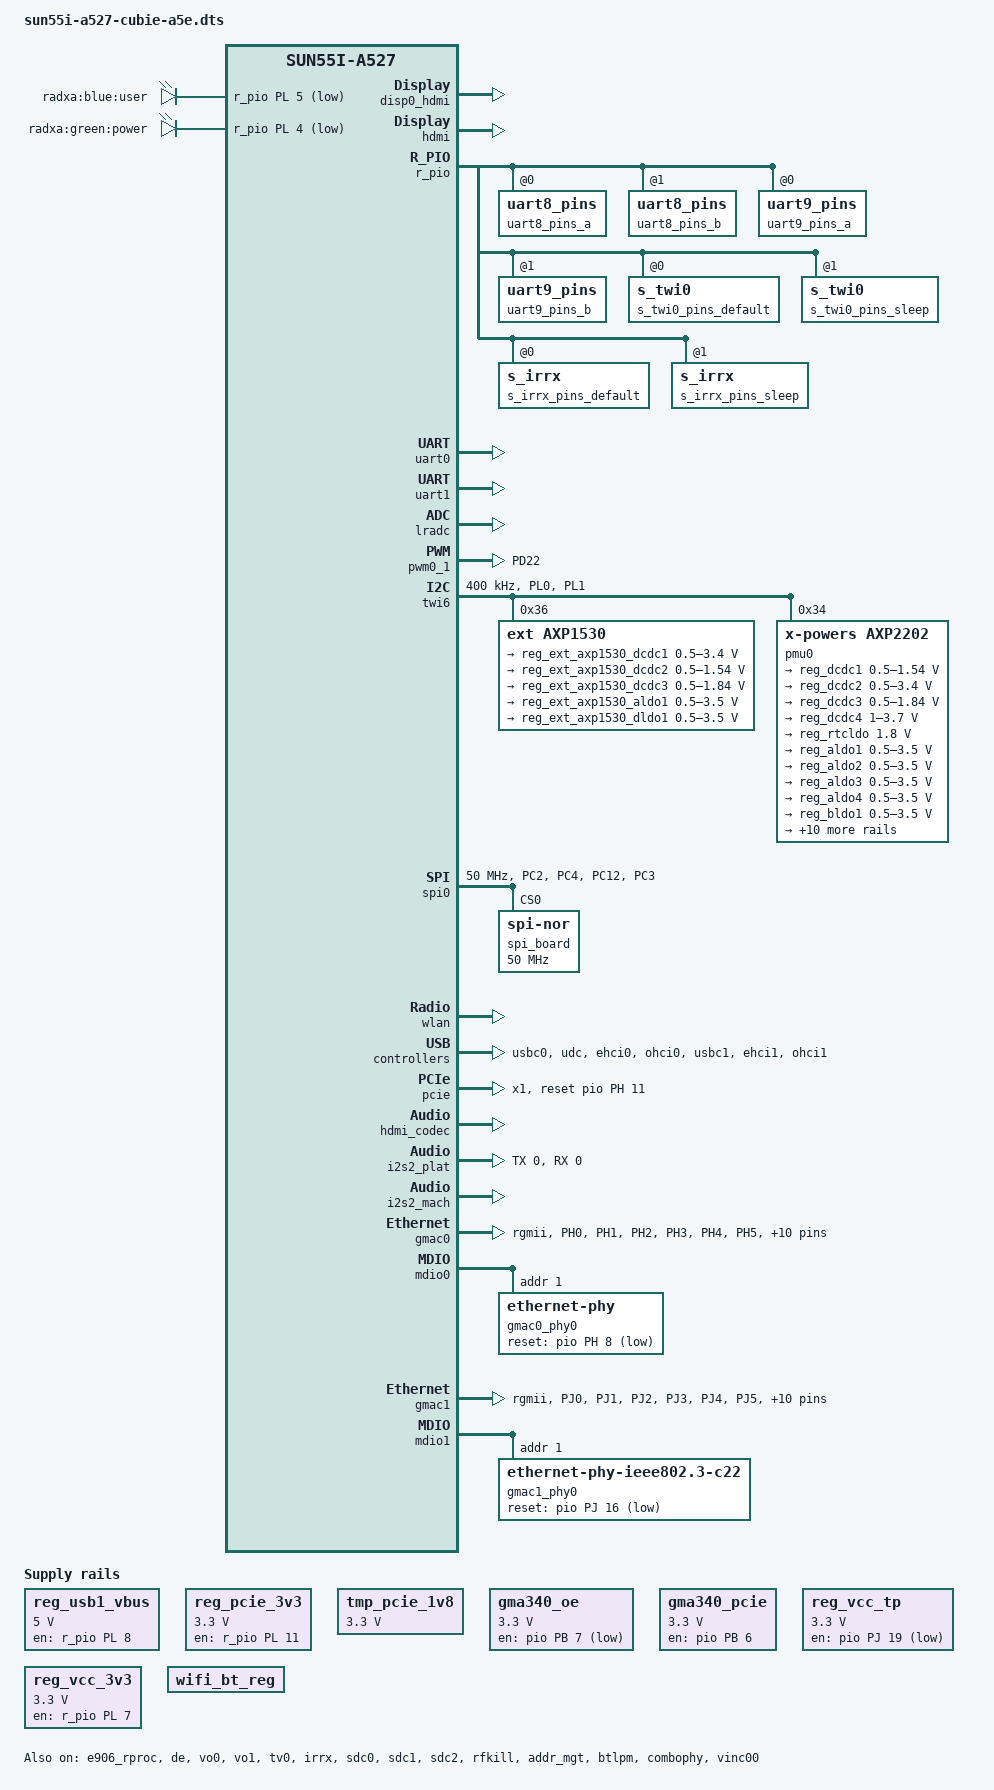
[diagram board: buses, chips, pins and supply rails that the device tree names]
/*
 * Allwinner Technology CO., Ltd.
 */

/dts-v1/;

#include "sun55iw3p1.dtsi"
#define USE_PCIE 1

/{
	board = "A527", "A527-CUBIE-A5-AXP717C";
	compatible = "radxa,cubie-a5e", "arm,sun55iw3p1", "allwinner,sun55i-a527";
	aliases {
		pmu0 = &pmu0;
		axp1530 = &axp1530;
		serial0 = &uart0;
		lcd0 = &lcd0;
		hdmi = &hdmi;
		// reg-tcs0 = &reg_tcs0;
		// reg-sy0 = &reg_sy0;
		reg-axp1530 = &reg_ext_axp1530_dcdc1;
		// tcs0 = &tcs0;
		// sy0 = &sy0;
		cpu-ext = &cpu4;
		standby-param = &standby_param;
		arisc-config = &arisc_config;
	};

	reg_usb1_vbus: usb1-vbus {
		compatible = "regulator-fixed";
		regulator-name = "usb1-vbus";
		regulator-min-microvolt = <5000000>;
		regulator-max-microvolt = <5000000>;
		regulator-enable-ramp-delay = <1000>;
		gpio = <&r_pio PL 8 GPIO_ACTIVE_HIGH>;
		enable-active-high;
	};

	reg_pcie_3v3: pcie-3v3 {
		compatible = "regulator-fixed";
		regulator-name = "pcie-3v3";
		regulator-min-microvolt = <3300000>;
		regulator-max-microvolt = <3300000>;
		regulator-enable-ramp-delay = <1000>;
		regulator-always-on;
		regulator-boot-on;
		gpio = <&r_pio PL 11 GPIO_ACTIVE_HIGH>;
		enable-active-high;
	};

	tmp_pcie_1v8: pcie-1v8 {
		compatible = "regulator-fixed";
		regulator-name = "pcie-1v8";
		regulator-min-microvolt = <3300000>;
		regulator-max-microvolt = <3300000>;
		regulator-enable-ramp-delay = <1000>;
		regulator-always-on;
		regulator-boot-on;
	};

	gma340_oe: gma340-oe {
		compatible = "regulator-fixed";
		regulator-name = "gma340-oe";
		regulator-min-microvolt = <3300000>;
		regulator-max-microvolt = <3300000>;
		//regulator-enable-ramp-delay = <1000>;
		regulator-always-on;
		regulator-boot-on;
		gpio = <&pio PB 7 GPIO_ACTIVE_LOW>;
	};

#ifdef USE_PCIE
	gma340_pcie: gma340-pcie {
		compatible = "regulator-fixed";
		regulator-name = "gma340-pcie";
		regulator-min-microvolt = <3300000>;
		regulator-max-microvolt = <3300000>;
		//regulator-enable-ramp-delay = <1000>;
		regulator-always-on;
		regulator-boot-on;
		gpio = <&pio PB 6 GPIO_ACTIVE_HIGH>;
		enable-active-high;
	};
#else
	gma340_usb3: gma340-usb3 {
		compatible = "regulator-fixed";
		regulator-name = "gma340-usb3";
		regulator-min-microvolt = <3300000>;
		regulator-max-microvolt = <3300000>;
		//regulator-enable-ramp-delay = <1000>;
		regulator-always-on;
		regulator-boot-on;
		gpio = <&pio PB 6 GPIO_ACTIVE_LOW>;
	};
#endif
	reg_vcc_tp: reg-vcc-tp {
		compatible = "regulator-fixed";
		regulator-name = "reg-vcc-tp";
		regulator-min-microvolt = <3300000>;
		regulator-max-microvolt = <3300000>;
		regulator-always-on;
		regulator-boot-on;
		gpio = <&pio PJ 19 GPIO_ACTIVE_LOW>;
	};

	reg_vcc_3v3: vcc-3v3 {
		compatible = "regulator-fixed";
		regulator-name = "vcc-3v3";
		regulator-min-microvolt = <3300000>;
		regulator-max-microvolt = <3300000>;
		// regulator-enable-ramp-delay = <1000>;
		gpio = <&r_pio PL 7 GPIO_ACTIVE_HIGH>;
		regulator-always-on;
		regulator-boot-on;
		enable-active-high;
	};

	standby_param: standby_param {
		vdd-cpu = <0x00000001>;
		vdd-cpub = <0x00000001>;
		vdd-ndr = <0x00000004>;
		vdd-sys = <0x00000002>;
		vcc-pll = <0x00000080>;
		vcc-io  = <0x00004000>;

		osc24m-on = <0x0>;
	};

	arisc_config: arisc_config {
		s_uart_config{
			pins = "PL2", "PL3";
			function = <2>, <2>;
			status = "disabled";
		};
	};

	leds {
		compatible = "gpio-leds";

		led-0 {
			label = "radxa:blue:user";
			gpios = <&r_pio PL 5 GPIO_ACTIVE_LOW>;
			linux,default-trigger = "heartbeat";
		};

		led-1 {
			label = "radxa:green:power";
			gpios = <&r_pio PL 4 GPIO_ACTIVE_LOW>;
			linux,default-trigger = "default-on";
		};

	};

	wifi_bt_reg: wifi-bt-reg {
		compatible = "regulator-gpio";
		gpios = <&r_pio PM 1 GPIO_ACTIVE_HIGH>; /* wl_reg_on */
		states = <0x07 3300000>;
		regulator-name = "wifi_bt_reg";
		regulator-always-on;
		startup-delay-us = <100>;
		enable-high;
	};

};

&e906_rproc {
	mboxes = <&msgbox 8>;
	mbox-names = "arm-kick";
	memory-region = <&riscvsram0_reserved>, <&riscvsram1_reserved>, <&rv_vdev0buffer>, <&rv_vdev0vring0>, <&rv_vdev0vring1>, <&e906_dram_reserved>;
	auto-boot;
	fw-region = <&e906_mem_fw>;
	memory-mappings =
		/* < DA		len		PA >	*/
		/* DSP RAM */
		< 0x20000	0x20000		0x20000 >,
		/* SRAM A2 */
		< 0x40000	0x24000		0x40000 >,
		/* DDR */
		< 0x8000000	0x37f00000	0x8000000 >,
		/* SRAM SPACE 0 */
		< 0x3ffc0000	0x40000		0x07280000 >,
		/* SRAM SPACE 1 */
		< 0x40000000	0x40000		0x072c0000 >,
		/* DRAM SPACE */
		< 0x40040000	0x3ffc0000	0x40040000>;
	status = "okay";
};

&de {
	chn_cfg_mode = <3>;
	status = "okay";
};

&vo0 {
	status = "okay";
};

&vo1 {
	status = "okay";
};

&tv0 {
	status = "okay";
};

&sunxi_drm {
	route {
		disp0_dsi1:disp0_dsi1 {
			status = "disabled";
		};

		disp0_hdmi:disp0_hdmi {
			status = "okay";
		};
	};
};

&dsi1 {
	status = "disabled";
	ports {
		dsi1_out: port@1{
			dsi1_out_panel: endpoint {
				remote-endpoint = <&panel_input>;
			};
		};
	};

	panel: panel@0 {
		compatible = "allwinner,virtual-panel";
		status = "okay";
		reg = <0>;
		ports {
			panel_in: port@0 {
				reg = <0>;
				panel_input: endpoint@0 {
					reg = <0>;
					remote-endpoint = <&dsi1_out_panel>;
				};
			};
		};
	};
};

&hdmi {
	hdmi_used = <1>;
	cldo1-supply = <&reg_cldo1>;
	hdmi_power0 = "cldo1";
	hdmi_power_cnt = <1>;
	hdmi_hdcp_enable = <1>;
	hdmi_hdcp22_enable = <0>;
	hdmi_cts_compatibility = <0>;
	hdmi_cec_enable = <1>;
	hdmi_cec_support = <1>;
	hdmi_cec_super_standby = <1>;
	hdmi_skip_bootedid = <1>;

	ddc_en_io_ctrl = <0>;
	power_io_ctrl = <0>;

	inno_phy = <
		 25000 165000 0x01000102 0x1c1c1c1c 0x00000000 0x00000000
		165000 340000 0x01040506 0x1c1c1c1c 0x00000000 0x03030300
		340000 600000 0x010f0f0f 0x1c1c1c1c 0x00000000 0x00000000>;

	status = "okay";
};

&r_pio {
	gpio-line-names = 
	/* PL */
        "", "", "", "",
        "", "", "", "",
        "", "", "", "",
        "PIN_15", "PIN_22", "", "",
        "", "", "", "",
        "", "", "", "",
        "", "", "", "",
        "", "", "", "",
	/* PM */
	"", "", "", "",
        "", "", "", "",
        "", "", "", "",
        "", "", "", "",
        "", "", "", "",
        "", "", "", "",
        "", "", "", "",
        "", "", "", "",
	/* PN */
	"", "", "", "",
        "", "", "", "",
        "", "", "", "",
        "", "", "", "",
        "", "", "", "",
        "", "", "", "",
        "", "", "", "",
        "", "", "", "";
	
	uart8_pins_a: uart8_pins@0 {
		pins = "PL2", "PL3";
		function = "s_uart0";
	};

	uart8_pins_b: uart8_pins@1 {
		pins = "PL2", "PL3";
		function = "gpio_in";
	};

	uart9_pins_a: uart9_pins@0 {
		pins = "PM0", "PM1";
		function = "s_uart1";
	};

	uart9_pins_b: uart9_pins@1 {
		pins = "PM0", "PM1";
		function = "gpio_in";
	};

	s_twi0_pins_default: s_twi0@0 {
		pins = "PL0", "PL1";
		function = "s_twi0";
		drive-strength = <10>;
		bias-pull-up;
	};

	s_twi0_pins_sleep: s_twi0@1 {
		pins = "PL0", "PL1";
		function = "gpio_in";
	};

	s_irrx_pins_default: s_irrx@0 {
		pins = "PL11";
		function = "s_cir";
	};

	s_irrx_pins_sleep: s_irrx@1 {
	        pins = "PL11";
		function = "gpio_in";
	};
};

&pio {
	vcc-pg-supply = <&reg_pio1_8>;
	vcc-pc-supply = <&reg_pio1_8>;
	vcc-pf-supply = <&reg_pio1_8>;
	vcc-pfo-supply = <&reg_pio3_3>;

	gpio-line-names = 
	/* PA */
        "", "", "", "",
        "", "", "", "",
        "", "", "", "",
        "", "", "", "",
        "", "", "", "",
        "", "", "", "",
        "", "", "", "",
        "", "", "", "",
	/* PB */
	"", "", "", "",
        "PIN_5", "PIN_3", "", "",
        "", "PIN_8", "PIN_10", "PIN_24",
        "PIN_23", "PIN_19", "PIN_21", "",
        "", "", "", "",
        "", "", "", "",
        "", "", "", "",
        "", "", "", "63",
	/* PC */
	"", "", "", "",
        "", "", "", "",
        "", "", "", "",
        "", "", "", "",
        "", "", "", "",
        "", "", "", "",
        "", "", "", "",
        "", "", "", "95",
	/* PD */
	"", "", "", "",
        "", "", "", "",
        "", "", "", "",
        "", "", "", "",
        "", "", "", "",
        "", "", "", "",
        "", "", "", "",
        "", "", "", "127",
	/* PE */
	"", "", "", "",
        "", "", "", "",
        "", "", "", "",
        "", "", "", "",
        "", "", "", "",
        "", "", "", "",
        "", "", "", "",
        "", "", "", "159",
	/* PF */
	"", "", "", "",
        "", "", "", "",
        "", "", "", "",
        "", "", "", "",
        "", "", "", "",
        "", "", "", "",
        "", "", "", "",
        "", "", "", "191",
	/* PG */
	"", "", "", "",
        "", "", "", "",
        "", "", "", "",
        "", "", "", "",
        "", "", "", "",
        "", "", "", "",
        "", "", "", "",
        "", "", "", "223",
	/* PH */
	"", "", "", "",
        "", "", "", "",
        "", "", "", "",
        "", "", "", "",
        "", "", "", "",
        "", "", "", "",
        "", "", "", "",
        "", "", "", "255",
	/* PI */
	"PIN_26", "PIN_32", "PIN_12", "PIN_36",
        "PIN_40", "PIN_38", "PIN_33", "PIN_7",
        "PIN_29", "PIN_11", "PIN_13", "PIN_16",
        "PIN_31", "PIN_35", "PIN_18", "PIN_28",
        "PIN_27", "", "", "",
        "", "", "", "",
        "", "", "", "",
        "", "", "", "287",
	/* PJ */
	"", "", "", "",
        "", "", "", "",
        "", "", "", "",
        "", "", "", "",
        "", "", "", "",
        "", "", "", "",
        "", "", "", "",
        "", "", "", "319",
	/* PK */
	"", "", "", "",
        "", "", "", "",
        "", "", "", "",
        "", "", "", "",
        "", "", "", "",
        "", "", "", "",
        "", "", "", "",
        "", "", "", "351";
	uart0_pins_a: uart0_pins@0 {
		pins = "", "";
		function = "uart0";
	};

	uart0_pins_b: uart0_pins@1 {
		pins = "", "";
		function = "gpio_in";
	};

	uart2_pins_a: uart2_pins@0 {
		pins = "PB0", "PB1";
		function = "uart2";
	};

	uart2_pins_b: uart2_pins@1 {
		pins = "PB0", "PB1";
		function = "gpio_in";
	};

	uart3_pins_a: uart3_pins@0 {
		pins = "PD14", "PD15";
		function = "uart3";
	};

	uart3_pins_b: uart3_pins@1 {
		pins = "PD14", "PD15";
		function = "gpio_in";
	};

	uart4_pins_a: uart4_pins@0 {
		pins = "PD18", "PD19";
		function = "uart4";
	};

	uart4_pins_b: uart4_pins@1 {
		pins = "PD18", "PD19";
		function = "gpio_in";
	};

	uart5_pins_a: uart5_pins@0 {
		pins = "PE11", "PE12";
		function = "uart5";
	};

	uart5_pins_b: uart5_pins@1 {
		pins = "PE11", "PE12";
		function = "gpio_in";
	};

	uart6_pins_a: uart6_pins@0 {
		pins = "PK18", "PK19";
		function = "uart6";
	};

	uart6_pins_b: uart6_pins@1 {
		pins = "PK18", "PK19";
		function = "gpio_in";
	};

	uart7_pins_a: uart7_pins@0 {
		pins = "PB11", "PB12";
		function = "uart7";
	};

	uart7_pins_b: uart7_pins@1 {
		pins = "PB11", "PB12";
		function = "gpio_in";
	};

	pwm0_1_pin_active: pwm0_1@0 {
		pins = "PD22";
		function = "pwm0_1";
		drive-strength = <10>;
	};

	pwm0_1_pin_sleep: pwm0_1@1 {
		pins = "PD22";
		function = "gpio_in";
	};

	ledc_pins_a: ledc@0 {
		pins = "PL5";
		function = "ledc";
		drive-strength = <10>;
	};

	ledc_pins_b: ledc@1 {
		pins = "PL5";
		function = "gpio_in";
	};

	irrx_pins_default: irrx@0 {
		pins = "PH19";
		function = "cir";
	};

	irrx_pins_sleep: irrx@1 {
	        pins = "PH19";
	        function = "gpio_in";
	};

	irtx_pins_default: irtx@0 {
		pins = "PH18";
		function = "cir";
	};

	irtx_pins_sleep: irtx@1 {
		pins = "PH18";
		function = "gpio_in";
	};

	twi0_pins_default: twi0@0 {
		pins = "PH0", "PH1";
		function = "twi0";
		drive-strength = <10>;
		bias-pull-up;
	};

	twi0_pins_sleep: twi0@1 {
		pins = "PH0", "PH1";
		function = "gpio_in";
	};

	twi1_pins_default: twi1@0 {
		pins = "PH2", "PH3";
		function = "twi1";
		drive-strength = <10>;
		bias-pull-up;
	};

	twi1_pins_sleep: twi1@1 {
		pins = "PH2", "PH3";
		function = "gpio_in";
	};

	i2s1_pins_a: i2s1@0 {
		pins = "PG10", "PG11", "PG12";
		function = "i2s1";
		drive-strength = <20>;
		bias-disable;
	};

	i2s1_pins_b: i2s1@1 {
		pins = "PG10", "PG11", "PG12", "PG13", "PG14";
		function = "io_disabled";
		drive-strength = <20>;
		bias-disable;
	};

	i2s1_pins_c: i2s1@2 {
		pins = "PG13";
		function = "i2s1_dout";
		drive-strength = <20>;
		bias-disable;
	};

	i2s1_pins_d: i2s1@3 {
		pins = "PG14";
		function = "i2s1_din";
		drive-strength = <20>;
		bias-disable;
	};

	owa_pins_a: owa@0 {
		pins = "PH7";
		function = "owa";
		drive-strength = <20>;
		bias-disable;
	};

	owa_pins_b: owa@1 {
		pins = "PH7";
		function = "io_disabled";
		drive-strength = <20>;
		bias-disable;
	};

	spi0_pins_default: spi0@0 {
		pins = "PC2","PC4", "PC12";
		function = "spi0";
		drive-strength = <10>;
	};

	spi0_pins_cs: spi0@1 {
		pins = "PC3";
		function = "spi0";
		drive-strength = <10>;
		bias-pull-up;   /* cs, hold, wp should be pulled up */
	};

	spi0_pins_sleep: spi0@2 {
		pins = "PC2","PC3","PC4", "PC12";
		function = "gpio_in";
		drive-strength = <10>;
	};



	i2s0_pins_a: i2s0@0 {
		pins = "PB4", "PB5", "PB6";
		function = "i2s0";
		drive-strength = <20>;
		bias-disable;
	};

	i2s0_pins_b: i2s0@1 {
		pins = "PB4", "PB5", "PB6", "PB7", "PB8";
		function = "io_disabled";
		drive-strength = <20>;
		bias-disable;
	};

	i2s0_pins_c: i2s0@2 {
		pins = "PB7";
		function = "i2s0_dout";
		drive-strength = <20>;
		bias-disable;
	};

	i2s0_pins_d: i2s0@3 {
		pins = "PB8";
		function = "i2s0_din";
		drive-strength = <20>;
		bias-disable;
	};

	gmac0_pins_default: gmac0@0 {
		pins = "PH0", "PH1", "PH2", "PH3",
			"PH4", "PH5", "PH6", "PH7",
			 "PH9", "PH10","PH13","PH14",
			  "PH15","PH16","PH17","PH18";
		drive-strength = <40>;
		function = "gmac0";
		bias-pull-up;
	};

	gmac0_pins_sleep: gmac0@1 {
		pins = "PH0", "PH1", "PH2", "PH3",
			"PH4", "PH5", "PH6", "PH7",
			 "PH9", "PH10","PH13","PH14",
			  "PH15","PH16","PH17","PH18";
		function = "gpio_in";
	};

	gmac1_pins_default: gmac1@0 {
		pins = "PJ0", "PJ1", "PJ2", "PJ3",
			"PJ4", "PJ5", "PJ6", "PJ7",
			"PJ8", "PJ9", "PJ10", "PJ11",
			"PJ12","PJ13", "PJ14", "PJ15";
		drive-strength = <40>;
		function = "gmac1";
		bias-pull-up;
	};

	gmac1_pins_sleep: gmac1@1 {
		pins = "PJ0", "PJ1", "PJ2", "PJ3",
			"PJ4", "PJ5", "PJ6", "PJ7",
			"PJ8", "PJ9", "PJ10", "PJ11",
			"PJ12","PJ13", "PJ14", "PJ15";
		function = "gpio_in";
	};
};

&soc {
	auto_print@54321 {
		reg = <0x0 0x54321 0x0 0x0>;
		device_type = "auto_print";
		status = "okay";
	};

	hall_para {
		hall_name = "MH248";
		status = "okay";
		hall_int_port = <&r_pio PL 9 GPIO_ACTIVE_LOW>;
	};

};

&uart0 {
	pinctrl-names = "default", "sleep";
	pinctrl-0 = <&uart0_pins_a>;
	pinctrl-1 = <&uart0_pins_b>;
	uart-supply = <&reg_cldo3>;
	status = "okay";
};

&uart1 {
	status = "okay";
};

&uart2 {
	pinctrl-names = "default", "sleep";
	pinctrl-0 = <&uart2_pins_a>;
	pinctrl-1 = <&uart2_pins_b>;
	status = "disabled";
};

&uart3 {
	pinctrl-names = "default", "sleep";
	pinctrl-0 = <&uart3_pins_a>;
	pinctrl-1 = <&uart3_pins_b>;
	status = "disabled";
};

&uart4 {
	pinctrl-names = "default", "sleep";
	pinctrl-0 = <&uart4_pins_a>;
	pinctrl-1 = <&uart4_pins_b>;
	status = "disabled";
};

&uart5 {
	pinctrl-names = "default", "sleep";
	pinctrl-0 = <&uart5_pins_a>;
	pinctrl-1 = <&uart5_pins_b>;
	status = "disabled";
};

&uart6 {
	pinctrl-names = "default", "sleep";
	pinctrl-0 = <&uart6_pins_a>;
	pinctrl-1 = <&uart6_pins_b>;
	status = "disabled";
};

&uart7 {
	pinctrl-names = "default", "sleep";
	pinctrl-0 = <&uart7_pins_a>;
	pinctrl-1 = <&uart7_pins_b>;
	status = "disabled";
};

&uart8 {
	pinctrl-names = "default", "sleep";
	pinctrl-0 = <&uart8_pins_a>;
	pinctrl-1 = <&uart8_pins_b>;
	status = "disabled";
};

&uart9 {
	pinctrl-names = "default", "sleep";
	pinctrl-0 = <&uart9_pins_a>;
	pinctrl-1 = <&uart9_pins_b>;
	status = "disabled";
};

&lradc {
	key_cnt = <2>;
	key0 = <646 115>;
	key1 = <900 114>;
	key_debounce;
	debounce_value = <150>;
	status = "okay";
};

&gpadc0 {
	channel_num = <2>;
	channel_select = <3>;
	channel_data_select = <3>;
	channel_compare_select = <3>;
	channel_cld_select = <3>;
	channel_chd_select = <3>;
	channel0_compare_lowdata = <1700000>;
	channel0_compare_higdata = <1200000>;
	channel1_compare_lowdata = <460000>;
	channel1_compare_higdata = <1200000>;
	status = "disabled";
};

&gpadc1 {
	channel_num = <2>;
	channel_select = <3>;
	channel_data_select = <3>;
	channel_compare_select = <3>;
	channel_cld_select = <3>;
	channel_chd_select = <3>;
	channel0_compare_lowdata = <1700000>;
	channel0_compare_higdata = <1200000>;
	channel1_compare_lowdata = <460000>;
	channel1_compare_higdata = <1200000>;
	status = "disabled";
};

&pwm0_1 {
	pinctrl-names = "active", "sleep";
	pinctrl-0 = <&pwm0_1_pin_active>;
	pinctrl-1 = <&pwm0_1_pin_sleep>;
	status = "okay";
};

&irrx {
	pinctrl-names = "default", "sleep";
	pinctrl-0 = <&irrx_pins_default>;
	pinctrl-1 = <&irrx_pins_sleep>;
	status = "okay";
};

&s_irrx {
	pinctrl-names = "default", "sleep";
	pinctrl-0 = <&s_irrx_pins_default>;
	pinctrl-1 = <&s_irrx_pins_sleep>;
	status = "disabled";
};

&irtx {
	pinctrl-names = "default", "sleep";
	pinctrl-0 = <&irtx_pins_default>;
	pinctrl-1 = <&irtx_pins_sleep>;
	status = "disabled";
};

/*  axp717c + axp323      */
&twi6 {
	clock-frequency = <400000>;
	pinctrl-0 = <&s_twi0_pins_default>;
	pinctrl-1 = <&s_twi0_pins_sleep>;
	pinctrl-names = "default", "sleep";
	device_type = "twi6";
	/* For stability and backwards compatibility, we recommend setting ‘twi_drv_used’ to 1 */
	twi_drv_used = <1>;
	no_suspend = <1>;
	status = "okay";

	axp1530: axp1530@36{
		compatible = "ext,axp1530";
		status = "okay";
		reg = <0x36>;

		wakeup-source;

		regulators{
			reg_ext_axp1530_dcdc1: dcdc1 {
				regulator-name = "axp1530-dcdc1";
				regulator-min-microvolt = <500000>;
				regulator-max-microvolt = <3400000>;
				regulator-step-delay-us = <25>;
				regulator-final-delay-us = <50>;
				regulator-always-on;
			};

			reg_ext_axp1530_dcdc2: dcdc2 {
				regulator-name = "axp1530-dcdc2";
				regulator-min-microvolt = <500000>;
				regulator-max-microvolt = <1540000>;
				regulator-step-delay-us = <25>;
				regulator-final-delay-us = <50>;
				regulator-ramp-delay = <200>; /* FIXME */
				regulator-always-on;
			};

			reg_ext_axp1530_dcdc3: dcdc3 {
				regulator-name = "axp1530-dcdc3";
				regulator-min-microvolt = <500000>;
				regulator-max-microvolt = <1840000>;
				regulator-step-delay-us = <25>;
				regulator-final-delay-us = <50>;
				regulator-always-on;
			};

			reg_ext_axp1530_aldo1: ldo1 {
				regulator-name = "axp1530-aldo1";
				regulator-min-microvolt = <500000>;
				regulator-max-microvolt = <3500000>;
				regulator-step-delay-us = <25>;
				regulator-final-delay-us = <50>;
				regulator-always-on;
			};

			reg_ext_axp1530_dldo1: ldo2 {
				regulator-name = "axp1530-dldo1";
				regulator-min-microvolt = <500000>;
				regulator-max-microvolt = <3500000>;
				regulator-step-delay-us = <25>;
				regulator-final-delay-us = <50>;
			};
		};
		virtual-ext-dcdc1 {
			compatible = "xpower-vregulator,ext-dcdc1";
			dcdc1-supply = <&reg_ext_axp1530_dcdc1>;
		};
		virtual-ext-dcdc2 {
			compatible = "xpower-vregulator,ext-dcdc2";
			dcdc2-supply = <&reg_ext_axp1530_dcdc2>;
		};
		virtual-ext-dcdc3 {
			compatible = "xpower-vregulator,ext-dcdc3";
			dcdc3-supply = <&reg_ext_axp1530_dcdc3>;
		};
		virtual-ext-aldo1 {
			compatible = "xpower-vregulator,ext-aldo1";
			aldo1-supply = <&reg_ext_axp1530_aldo1>;
		};
		virtual-ext-dldo1 {
			compatible = "xpower-vregulator,ext-dldo1";
			dldo1-supply = <&reg_ext_axp1530_dldo1>;
		};

	};
	pmu0: pmu@34 {
		compatible = "x-powers,axp2202";
		reg = <0x34>;
		status = "okay";
		interrupts = <0 IRQ_TYPE_LEVEL_LOW>;
		interrupt-parent = <&nmi_intc>;
		x-powers,drive-vbus-en;
		pmu_reset = <0>;
		pmu_irq_wakeup = <1>;
		pmu_hot_shutdown = <1>;

		wakeup-source;

		usb_power_supply: usb_power_supply {
			compatible = "x-powers,axp2202-usb-power-supply";
			status = "okay";

			pmu_usbpc_vol = <4600>;
			pmu_usbpc_cur = <500>;
			pmu_usbad_vol = <4000>;
			pmu_usbad_cur = <2500>;
			pmu_usb_typec_used = <1>;
			wakeup_usb_in;
			wakeup_usb_out;

			det_acin_supply = <&gpio_power_supply>;
			pmu_acin_usbid_drv = <&pio PH 12 GPIO_ACTIVE_LOW>;
			pmu_vbus_det_gpio = <&pio PH 13 GPIO_ACTIVE_LOW>;
		};

		gpio_power_supply: gpio_power_supply {
			compatible = "x-powers,gpio-supply";
			status = "disabled";
			pmu_acin_det_gpio = <&pio PH 14 GPIO_ACTIVE_LOW>;
			det_usb_supply = <&usb_power_supply>;
		};

		powerkey0: powerkey@0 {
			status = "okay";
			compatible = "x-powers,axp2101-pek";
			pmu_powkey_off_time = <4000>;
			pmu_powkey_off_func = <0>;
			pmu_powkey_off_en = <1>;
			pmu_powkey_long_time = <1500>;
			pmu_powkey_on_time = <128>;
			wakeup_rising;
			wakeup_falling;
		};

		regulator0: regulators@0 {
			reg_dcdc1: dcdc1 {
				regulator-name = "axp2202-dcdc1";
				regulator-min-microvolt = <500000>;
				regulator-max-microvolt = <1540000>;
				regulator-ramp-delay = <250>;
				regulator-enable-ramp-delay = <1000>;
				regulator-boot-on;
				regulator-always-on;
			};
			reg_dcdc2: dcdc2 {
				regulator-name = "axp2202-dcdc2";
				regulator-min-microvolt = <500000>;
				regulator-max-microvolt = <3400000>;
				regulator-ramp-delay = <250>;
				regulator-enable-ramp-delay = <1000>;
				regulator-boot-on;
				regulator-always-on;
			};
			reg_dcdc3: dcdc3 {
				regulator-name = "axp2202-dcdc3";
				regulator-min-microvolt = <500000>;
				regulator-max-microvolt = <1840000>;
				regulator-ramp-delay = <250>;
				regulator-enable-ramp-delay = <1000>;
				regulator-always-on;
			};
			reg_dcdc4: dcdc4 {
				regulator-name = "axp2202-dcdc4";
				regulator-min-microvolt = <1000000>;
				regulator-max-microvolt = <3700000>;
				regulator-ramp-delay = <250>;
				regulator-enable-ramp-delay = <1000>;
			};
			reg_rtcldo: rtcldo {
				/* RTC_LDO is a fixed, always-on regulator */
				regulator-name = "axp2202-rtcldo";
				regulator-min-microvolt = <1800000>;
				regulator-max-microvolt = <1800000>;
				regulator-boot-on;
				regulator-always-on;
			};
			reg_aldo1: aldo1 {
				regulator-name = "axp2202-aldo1";
				regulator-min-microvolt = <500000>;
				regulator-max-microvolt = <3500000>;
				regulator-enable-ramp-delay = <1000>;
			};
			reg_aldo2: aldo2 {
				regulator-name = "axp2202-aldo2";
				regulator-min-microvolt = <500000>;
				regulator-max-microvolt = <3500000>;
				regulator-enable-ramp-delay = <1000>;
				regulator-always-on;
				regulator-boot-on;
			};
			reg_aldo3: aldo3 {
				regulator-name = "axp2202-aldo3";
				regulator-min-microvolt = <500000>;
				regulator-max-microvolt = <3500000>;
				regulator-enable-ramp-delay = <1000>;
				regulator-always-on;
				regulator-boot-on;
			};
			reg_aldo4: aldo4 {
				regulator-name = "axp2202-aldo4";
				regulator-min-microvolt = <500000>;
				regulator-max-microvolt = <3500000>;
				regulator-enable-ramp-delay = <1000>;
				regulator-always-on;
				regulator-boot-on;
			};
			reg_bldo1: bldo1 {
				regulator-name = "axp2202-bldo1";
				regulator-min-microvolt = <500000>;
				regulator-max-microvolt = <3500000>;
				regulator-enable-ramp-delay = <1000>;
				regulator-boot-on;
				regulator-always-on;
			};
			reg_bldo2: bldo2 {
				regulator-name = "axp2202-bldo2";
				regulator-min-microvolt = <500000>;
				regulator-max-microvolt = <3500000>;
				regulator-enable-ramp-delay = <1000>;
				regulator-boot-on;
				regulator-always-on;
			};
			reg_bldo3: bldo3 {
				regulator-name = "axp2202-bldo3";
				regulator-min-microvolt = <500000>;
				regulator-max-microvolt = <3500000>;
				regulator-enable-ramp-delay = <1000>;
				regulator-boot-on;
				regulator-always-on;
			};
			reg_bldo4: bldo4 {
				regulator-name = "axp2202-bldo4";
				regulator-min-microvolt = <500000>;
				regulator-max-microvolt = <3500000>;
				regulator-enable-ramp-delay = <1000>;
			};
			reg_cldo1: cldo1 {
				regulator-name = "axp2202-cldo1";
				regulator-min-microvolt = <500000>;
				regulator-max-microvolt = <3500000>;
				regulator-enable-ramp-delay = <1000>;
			};
			reg_cldo2: cldo2 {
				regulator-name = "axp2202-cldo2";
				regulator-min-microvolt = <500000>;
				regulator-max-microvolt = <3500000>;
				regulator-enable-ramp-delay = <1000>;
			};
			reg_cldo3: cldo3 {
				regulator-name = "axp2202-cldo3";
				regulator-min-microvolt = <500000>;
				regulator-max-microvolt = <3500000>;
				regulator-ramp-delay = <2500>;
				regulator-enable-ramp-delay = <1000>;
				regulator-boot-on;
				regulator-always-on;
			};
			reg_cldo4: cldo4 {
				regulator-name = "axp2202-cldo4";
				regulator-min-microvolt = <500000>;
				regulator-max-microvolt = <3500000>;
				regulator-enable-ramp-delay = <1000>;
				regulator-boot-on;
				regulator-always-on;
			};
			reg_cpusldo: cpusldo {
				/* cpus */
				regulator-name = "axp2202-cpusldo";
				regulator-min-microvolt = <500000>;
				regulator-max-microvolt = <1400000>;
				regulator-boot-on;
				regulator-always-on;
			};
			reg_vmid: vmid {
				regulator-name = "axp2202-vmid";
				regulator-enable-ramp-delay = <1000>;
			};
			reg_drivevbus: drivevbus {
				regulator-name = "axp2202-drivevbus";
				regulator-enable-ramp-delay = <1000>;
				drivevbusin-supply = <&reg_vmid>;
			};
		};

		virtual-dcdc1 {
			compatible = "xpower-vregulator,dcdc1";
			dcdc1-supply = <&reg_dcdc1>;
		};
		virtual-dcdc2 {
			compatible = "xpower-vregulator,dcdc2";
			dcdc2-supply = <&reg_dcdc2>;
		};
		virtual-dcdc3 {
			compatible = "xpower-vregulator,dcdc3";
			dcdc3-supply = <&reg_dcdc3>;
		};
		virtual-dcdc4 {
			compatible = "xpower-vregulator,dcdc4";
			dcdc4-supply = <&reg_dcdc4>;
		};
		virtual-rtcldo {
			compatible = "xpower-vregulator,rtcldo";
			rtcldo-supply = <&reg_rtcldo>;
		};
		virtual-aldo1 {
			compatible = "xpower-vregulator,aldo1";
			aldo1-supply = <&reg_aldo1>;
		};
		virtual-aldo2 {
			compatible = "xpower-vregulator,aldo2";
			aldo2-supply = <&reg_aldo2>;
		};
		virtual-aldo3 {
			compatible = "xpower-vregulator,aldo3";
			aldo3-supply = <&reg_aldo3>;
		};
		virtual-aldo4 {
			compatible = "xpower-vregulator,aldo4";
			aldo4-supply = <&reg_aldo4>;
		};
		virtual-bldo1 {
			compatible = "xpower-vregulator,bldo1";
			bldo1-supply = <&reg_bldo1>;
		};
		virtual-bldo2 {
			compatible = "xpower-vregulator,bldo2";
			bldo2-supply = <&reg_bldo2>;
		};
		virtual-bldo3 {
			compatible = "xpower-vregulator,bldo3";
			bldo3-supply = <&reg_bldo3>;
		};
		virtual-bldo4 {
			compatible = "xpower-vregulator,bldo4";
			bldo4-supply = <&reg_bldo4>;
		};
		virtual-cldo1 {
			compatible = "xpower-vregulator,cldo1";
			cldo1-supply = <&reg_cldo1>;
		};
		virtual-cldo2 {
			compatible = "xpower-vregulator,cldo2";
			cldo2-supply = <&reg_cldo2>;
		};
		virtual-cldo3 {
			compatible = "xpower-vregulator,cldo3";
			cldo3-supply = <&reg_cldo3>;
		};
		virtual-cldo4 {
			compatible = "xpower-vregulator,cldo4";
			cldo4-supply = <&reg_cldo4>;
		};
		virtual-cpusldo {
			compatible = "xpower-vregulator,cpusldo";
			cpusldo-supply = <&reg_cpusldo>;
		};
		virtual-drivevbus {
			compatible = "xpower-vregulator,drivevbus";
			drivevbus-supply = <&reg_drivevbus>;
		};
		axp_gpio0: axp_gpio@0 {
			gpio-controller;
			#size-cells = <0>;
			#gpio-cells = <6>;
			status = "okay";
		};
	};
};

&spi0 {
	clock-frequency = <50000000>;
	pinctrl-0 = <&spi0_pins_default &spi0_pins_cs>;
	pinctrl-1 = <&spi0_pins_sleep>;
	pinctrl-names = "default", "sleep";
	sunxi,spi-bus-mode = <SUNXI_SPI_BUS_NOR>;
	sunxi,spi-cs-mode = <SUNXI_SPI_CS_SOFT>;
	spi_slave_mode = <0>;
	spi0_cs_number = <1>;
	spi0_cs_bitmap = <1>;
	status = "okay";

	spi_board@0 {
		device_type = "spi_board0";
		compatible = "spi-nor";
		spi-max-frequency = <50000000>;
		m25p,fast-read = <1>;
		reg = <0x0>;
		spi-rx-bus-width = <1>;
		spi-tx-bus-width = <1>;
		status = "okay";
	};
};

&sdc0 {
	bus-width = <4>;
	cd-gpios = <&pio PF 6 (GPIO_ACTIVE_LOW | GPIO_PULL_UP)>;
	/*non-removable;*/
	/*broken-cd;*/
	/*cd-inverted*/
	/*data3-detect;*/
	/*card-pwr-gpios = <&pio PH 14 1 1 2 0xffffffff>;*/
	cd-used-24M;
	cd-set-debounce = <0x1>;
	cap-sd-highspeed;
	sd-uhs-sdr50;
	sd-uhs-ddr50;
	sd-uhs-sdr104;
	no-sdio;
	no-mmc;
	sunxi-power-save-mode;
	/*sunxi-dis-signal-vol-sw;*/
	max-frequency = <150000000>;
	ctl-spec-caps = <0x428>;
	sunxi-dly-208M  = <0xff 1 0xff 0xff 0xff 0xff>;
	vmmc-supply = <&reg_cldo3>;
	vqmmc33sw-supply = <&reg_cldo3>;
	vdmmc33sw-supply = <&reg_cldo3>;
	vqmmc18sw-supply = <&reg_cldo1>;
	vdmmc18sw-supply = <&reg_cldo1>;
	status = "okay";
};


&sdc1 {
	bus-width = <4>;
	no-mmc;
	no-sd;
	cap-sd-highspeed;
	cap-mmc-highspeed;
	/*sd-uhs-sdr12*/
	sd-uhs-sdr25;
	sd-uhs-sdr50;
	sd-uhs-ddr50;
	sd-uhs-sdr104;
	/*sunxi-power-save-mode;*/
	//sunxi-dis-signal-vol-sw;
	cap-sdio-irq;
	keep-power-in-suspend;
	ignore-pm-notify;
	max-frequency = <150000000>;
	ctl-spec-caps = <0x428>;
	vmmc-supply = <&reg_bldo1>;
	vqmmc-supply = <&reg_bldo1>;
	status = "okay";
};

&sdc2 {
	non-removable;
	bus-width = <8>;
	mmc-ddr-1_8v;
	mmc-hs200-1_8v;
	mmc-hs400-1_8v;
	no-sdio;
	no-sd;
	ctl-spec-caps = <0x328>;
	cap-mmc-highspeed;
	sunxi-power-save-mode;
	sunxi-dis-signal-vol-sw;
	mmc-bootpart-noacc;
	/*cap-hsq;*/
	cqe-on;
	ctl-cmdq-md = <0x2>;
	max-frequency = <200000000>;
	vmmc-supply  = <&reg_cldo3>;
	vqmmc-supply = <&reg_cldo1>;
	status = "okay";
};

&rfkill {
	compatible = "allwinner,sunxi-rfkill";
	power_en = <&r_pio PM 2 GPIO_ACTIVE_HIGH>;
	pinctrl-0;
	pinctrl-names;
	status = "okay";

	/* wlan session */
	wlan {
		compatible    = "allwinner,sunxi-wlan";
		clocks        = <&rtc_ccu CLK_OSC32K_OUT>;
		clock-names   = "osc32k-out";
		wlan_power    = "axp2202-bldo1"; /* vcc-io-wifi vcc-pg */
		wlan_power_vol= <3300000>;
		wlan_busnum   = <0x1>;
		wakeup-source;
	};
};

&addr_mgt {
	compatible     = "allwinner,sunxi-addr_mgt";
	type_addr_wifi = <0x0>;
	type_addr_bt   = <0x0>;
	type_addr_eth  = <0x0>;
	status         = "okay";
};

&btlpm {
	compatible  = "allwinner,sunxi-btlpm";
	uart_index  = <0x1>;
	bt_wake     = <&r_pio PM 3 GPIO_ACTIVE_HIGH>;
	bt_hostwake = <&r_pio PM 4 GPIO_ACTIVE_HIGH>;
	wakeup-source;
	status      = "okay";
};

/*
 *usb_port_type: usb mode. 0-device, 1-host, 2-otg.
 *usb_detect_type: usb hotplug detect mode. 0-none, 1-vbus/id detect, 2-id/dpdm detect.
 *usb_detect_mode: 0-thread scan, 1-id gpio interrupt, 2-pmu notify.
 *usb_id_gpio: gpio for id detect.
 *usb_det_vbus_gpio: gpio for id detect. gpio or "axp_ctrl";
 *usb_wakeup_suspend：0-SUPER_STANDBY, 1-USB_STANDBY.
 */
&usbc0 {
	device_type = "usbc0";
	usb_port_type = <0x2>;
	usb_detect_type = <0x2>;
	usb_detect_mode = <0x2>;
	usb_id_gpio;
	usb_det_vbus_gpio = "axp_ctrl";
	det_vbus_supply = <&usb_power_supply>;
	usb_regulator_io = "nocare";
	usb_wakeup_suspend = <1>;
	usb_luns = <3>;
	usb_serial_unique = <0>;
	usb_serial_number = "20080411";
	rndis_wceis = <1>;
	wakeup-source;
	status = "okay";
};

&udc {
	det_vbus_supply = <&usb_power_supply>;
	status = "okay";
};

&ehci0 {
	drvvbus-supply = <&reg_drivevbus>;
	status = "okay";
};

&ohci0 {
	drvvbus-supply = <&reg_drivevbus>;
	status = "okay";
};

&combophy {
	resets = <&ccu RST_BUS_PCIE_USB3>;
#ifdef  USE_PCIE
	phy_use_sel = <0>; /* 0:PCIE; 1:USB3 */
#else
	phy_use_sel = <1>; /* 0:PCIE; 1:USB3 */
#endif
	status = "okay";
};
 
#ifdef  USE_PCIE
&pcie {
	reset-gpios = <&pio PH 11 GPIO_ACTIVE_HIGH>;
	wake-gpios = <&pio PH 12 GPIO_ACTIVE_HIGH>;
	num-lanes  = <1>;
	clk-freq-100M;
	pcie3v3-supply = <&reg_pcie_3v3>;
	pcie1v8-supply = <&tmp_pcie_1v8>;
	status = "okay";
};
#else
&usbc2 {
	drvvbus-supply = <&reg_usb1_vbus>;
	wakeup-source;
	usb_detect_mode = <0x0>;
	aw,vbus-shared-quirk;
	status = "okay";
};

&xhci2 {
	drvvbus-supply = <&reg_usb1_vbus>;
	dr_mode = "host";
	status = "okay";
};

&u2phy {
	status = "okay";
};
#endif

&usbc1 {
	device_type = "usbc1";
	usb_regulator_io = "nocare";
	usb_wakeup_suspend = <1>;
	wakeup-source;
	status = "okay";
};

&ehci1 {
	drvvbus-supply = <&reg_usb1_vbus>;
	vbusin-supply = <&reg_vmid>;
	status = "okay";
};

&ohci1 {
	drvvbus-supply = <&reg_usb1_vbus>;
	vbusin-supply = <&reg_vmid>;
	status = "okay";
};

&gpu {
	gpu_idle = <1>;
	dvfs_status = <1>;
	mali-supply = <&reg_dcdc2>;
};

&cpu0 {
	cpu-supply = <&reg_dcdc1>;
};

&cpu4 {
	cpu-supply = <&reg_ext_axp1530_dcdc1>;
};

&dsufreq {
	dsu-supply = <&reg_dcdc1>;
};

&ve {
	ve-supply = <&reg_dcdc2>;
};

/* hdmi sound */
&hdmi_codec {
	extcon = <&hdmi>;
	status = "okay";
};

&i2s2_plat {
	tdm-num		= <2>;
	tx-pin		= <0 1 2 3>;
/* e.g.
 * tx-pin0-map0 = <0xFEDC3210> -> tx_pin_map[0][0] (Dout0-slot[7:0]  map channel[15:12, 3:0])
 * tx-pin0-map1 = <0x3210FEDC> -> tx_pin_map[0][1] (Dout0-slot[15:8] map channel[3:0, 15:12])
 * tx-pin1-map0 = <0x76543210> -> tx_pin_map[1][0] (Dout1-slot[7:0]  map channel[7:0])
 */
	tx-pin0-map0	= <0x76543210>;
	tx-pin0-map1	= <0xFEDCBA98>;
	tx-pin1-map0	= <0x76543210>;
	tx-pin1-map1	= <0xFEDCBA98>;
	tx-pin2-map0	= <0x76543210>;
	tx-pin2-map1	= <0xFEDCBA98>;
	tx-pin3-map0	= <0x76543210>;
	tx-pin3-map1	= <0xFEDCBA98>;
	rx-pin		= <0>;
	/* pinctrl-used; */
	/* pinctrl-names= "default","sleep"; */
	/* pinctrl-0	= <&i2s2_pins_a>; */
	/* pinctrl-1	= <&i2s2_pins_b>; */
	tx-hub-en;
	rx-sync-en;
	dai-type = "hdmi";
	status	= "okay";
};

&i2s2_mach {
	soundcard-mach,format		= "i2s";
	soundcard-mach,frame-master	= <&i2s2_cpu>;
	soundcard-mach,bitclock-master	= <&i2s2_cpu>;
	/* soundcard-mach,frame-inversion; */
	/* soundcard-mach,bitclock-inversion; */
	soundcard-mach,slot-num		= <2>;
	soundcard-mach,slot-width	= <32>;
	soundcard-mach,playback-only;
	status	= "okay";

	i2s2_cpu: soundcard-mach,cpu {
		sound-dai = <&i2s2_plat>;
		soundcard-mach,pll-fs	= <1>;
		soundcard-mach,mclk-fs	= <0>;
	};
	i2s2_codec: soundcard-mach,codec {
		sound-dai = <&hdmi_codec>;
	};
};

/* ethernet */
&gmac0 {
	phy-mode = "rgmii";
	pinctrl-names = "default", "sleep";
	pinctrl-0 = <&gmac0_pins_default>;
	pinctrl-1 = <&gmac0_pins_sleep>;
	sunxi,phy-clk-type = <0>;
	tx-delay = <2>;
	rx-delay = <4>;

	gmac3v3-supply = <&reg_cldo3>;
	status = "okay";
};

&mdio0 {
	compatible = "allwinner,sunxi-mdio";
	#address-cells = <1>;
	#size-cells = <0>;
	reg = <0x0 0x04500048 0x0 0x8>;
	status = "okay";
	gmac0_phy0: ethernet-phy@1 {
		/* RTL8211F (0x001cc916) */
		reg = <1>;
		max-speed = <1000>;  /* Max speed capability */
		reset-gpios = <&pio PH 8 GPIO_ACTIVE_LOW>;
		/* PHY datasheet rst time */
		reset-assert-us = <50000>;
		reset-deassert-us = <200000>;
	};
};

&gmac1 {
	phy-mode = "rgmii";
	pinctrl-names = "default", "sleep";
	pinctrl-0 = <&gmac1_pins_default>;
	pinctrl-1 = <&gmac1_pins_sleep>;
	aw,soc-phy25m;
	tx-delay = <3>;
	rx-delay = <4>;
	dwmac3v3-supply = <&reg_cldo3>;
	status = "okay";
};

&mdio1 {
	compatible = "snps,dwmac-mdio";
	#address-cells = <1>;
	#size-cells = <0>;
	status = "okay";
	gmac1_phy0: ethernet-phy@1 {
		compatible = "ethernet-phy-ieee802.3-c22";
		reg = <0x1>;
		max-speed = <1000>;  /* Max speed capability */
		reset-gpios = <&pio PJ 16 GPIO_ACTIVE_LOW>;
		/* PHY datasheet rst time */
		reset-assert-us = <50000>;
		reset-deassert-us = <200000>;
	};
};

&rtc {
	status = "disabled";
};

&vind0 {
	status = "disabled";
};

&csi0 {
	status = "disabled";
};

&csi1 {
	status = "disabled";
};

&csi2 {
	status = "disabled";
};

&csi3 {
	status = "disabled";
};

&mipi0 {
	status = "disabled";
};

&mipi1 {
	status = "disabled";
};

&mipi2 {
	status = "disabled";
};

&mipi3 {
	status = "disabled";
};

&tdm0 {
	status = "disabled";
};

&isp00 {
	status = "disabled";
};

&isp01 {
	status = "disabled";
};

&isp02 {
	status = "disabled";
};

&isp03 {
	status = "disabled";
};

&isp10 {
	status = "disabled";
};

&isp20 {
	status = "disabled";
};

&isp30 {
	status = "disabled";
};

&scaler00 {
	status = "disabled";
};

&scaler01 {
	status = "disabled";
};

&scaler02 {
	status = "disabled";
};

&scaler03 {
	status = "disabled";
};

&scaler10 {
	status = "disabled";
};

&scaler11 {
	status = "disabled";
};

&scaler12 {
	status = "disabled";
};

&scaler13 {
	status = "disabled";
};

&scaler20 {
	status = "disabled";
};

&scaler21 {
	status = "disabled";
};

&scaler22 {
	status = "disabled";
};

&scaler23 {
	status = "disabled";
};

&scaler30 {
	status = "disabled";
};

&scaler31 {
	status = "disabled";
};

&scaler32 {
	status = "disabled";
};

&scaler33 {
	status = "disabled";
};

&scaler40 {
	status = "disabled";
};

&scaler50 {
	status = "disabled";
};

&actuator0 {
	status = "disabled";
};

&flash0 {
	status = "disabled";
};

&sensor0 {
	status = "disabled";
};

&sensor1 {
	status = "disabled";
};

&sensor2 {
	status = "disabled";
};

&sensor3 {
	status = "disabled";
};

&sensor_list0 {
	status = "disabled";
};

&sensor_list1 {
	status = "disabled";
};

&vinc00 {
	status = "okay";
};

&vinc01 {
	status = "disabled";
};

&vinc02 {
	status = "disabled";
};

&vinc03 {
	status = "disabled";
};

&vinc10 {
	status = "disabled";
};

&vinc11 {
	status = "disabled";
};

&vinc12 {
	status = "disabled";
};

&vinc13 {
	status = "disabled";
};

&vinc20 {
	status = "disabled";
};

&vinc21 {
	status = "disabled";
};

&vinc22 {
	status = "disabled";
};

&vinc23 {
	status = "disabled";
};

&vinc30 {
	status = "disabled";
};

&vinc31 {
	status = "disabled";
};

&vinc32 {
	status = "disabled";
};

&vinc33 {
	status = "disabled";
};

&vinc40 {
	status = "disabled";
};

&vinc50 {
	status = "disabled";
};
